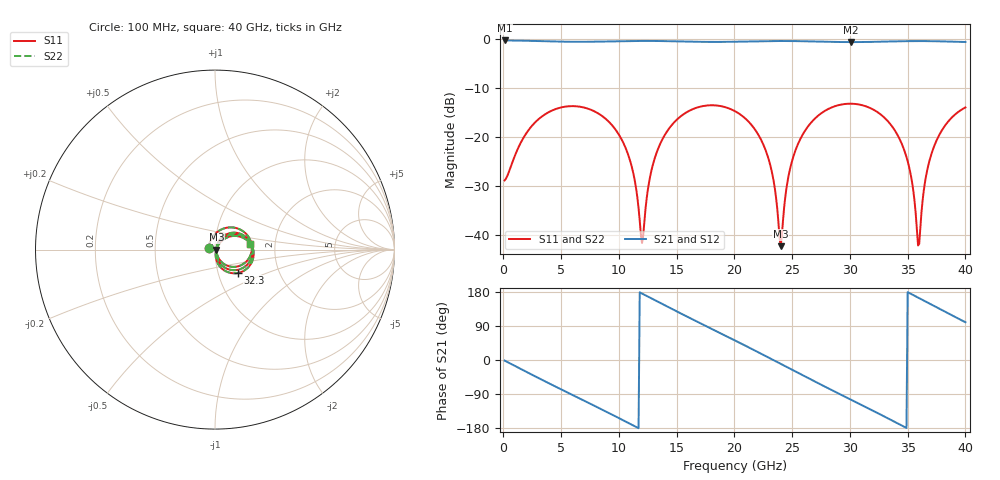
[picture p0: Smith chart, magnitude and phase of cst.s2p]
! thru_BV_ts_refinout2_out: 2×thru B.Cu, 8 mm
! stackup: as the board case
! ports: 1 near, 2 far
! CST Studio Suite 2025.5 Release from 2025-05-30, time domain (FIT, hexahedral, PBA), 87330 mesh cells, 20 s
! mesh: {'lpw': 20, 'lpb': 20, 'minstep': 0.0, 'ratio': 20}; ports: port 1 (face); port 2 (face)
! interpolated from CST's 1001 samples to the case grid
# Hz S RI R 50
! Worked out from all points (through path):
!   400 points, 100 MHz to 40 GHz, reference 50 ohm
!   highest |S21| = -0.32 dB at 100 MHz (marker M1); lowest = -0.7 dB at 30.1 GHz (marker M2)
!   group delay of S21, straight-line fit = 43 ps
!   lowest |S11| = -42.3 dB at 24 GHz (marker M3), VSWR 1.02, Z = 50.8 - j0.124 ohm
!   |S11| at or under -10 dB: start of sweep to end of sweep
!   |S22| runs from -42.3 to -13.2 dB; largest |S21 - S12| = 5.4e-07
!   S11 on the Smith chart (normalised r, x): 100 MHz: 0.93, +0.01; 32.3 GHz: 1.24, -0.33; 40 GHz: 1.49, +0.11
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1e8  -0.0353 0.00646  0.9639 -0.0267  0.9639 -0.0267  -0.0353 0.00646
3.7e9  0.1267 0.1174  0.5028 -0.8007  0.5028 -0.8007  0.1267 0.1174
6.8e9  0.1995 -0.0263  -0.236 -0.9037  -0.236 -0.9037  0.1995 -0.0263
1.05e10  0.0386 -0.0711  -0.8989 -0.307  -0.8989 -0.307  0.0386 -0.0711
1.14e10  0.0131 -0.0316  -0.9496 -0.0793  -0.9496 -0.0793  0.0131 -0.0316
1.2e10  0.00823 -0.000335  -0.9506 0.0775  -0.9506 0.0775  0.00823 -0.000335
1.26e10  0.014 0.0309  -0.9249 0.2323  -0.9249 0.2323  0.014 0.0309
1.34e10  0.0371 0.0665  -0.8505 0.4272  -0.8505 0.4272  0.0371 0.0665
1.68e10  0.1948 0.0438  -0.1753 0.9181  -0.1753 0.9181  0.1948 0.0438
2.01e10  0.1471 -0.1062  0.5915 0.7258  0.5915 0.7258  0.1471 -0.1062
2.28e10  0.0197 -0.0648  0.9385 0.1466  0.9385 0.1466  0.0197 -0.0648
2.35e10  0.0074 -0.0287  0.951 -0.0362  0.951 -0.0362  0.0074 -0.0287
2.4e10  0.00755 -0.00122  0.9374 -0.1671  0.9374 -0.1671  0.00755 -0.00122
2.49e10  0.0266 0.0444  0.8663 -0.3925  0.8663 -0.3925  0.0266 0.0444
2.67e10  0.1143 0.0848  0.5711 -0.75  0.5711 -0.75  0.1143 0.0848
3.01e10  0.212 -0.0506  -0.2385 -0.8967  -0.2385 -0.8967  0.212 -0.0506
3.23e10  0.1264 -0.1304  -0.7001 -0.619  -0.7001 -0.619  0.1264 -0.1304
3.34e10  0.0653 -0.1231  -0.8572 -0.3882  -0.8572 -0.3882  0.0653 -0.1231
3.51e10  0.00593 -0.0503  -0.9481 0.0425  -0.9481 0.0425  0.00593 -0.0503
3.59e10  0.00646 -0.00433  -0.9162 0.2519  -0.9162 0.2519  0.00646 -0.00433
3.72e10  0.0485 0.0571  -0.7646 0.5596  -0.7646 0.5596  0.0485 0.0571
4e10  0.1966 0.034  -0.1569 0.9166  -0.1569 0.9166  0.1966 0.034
